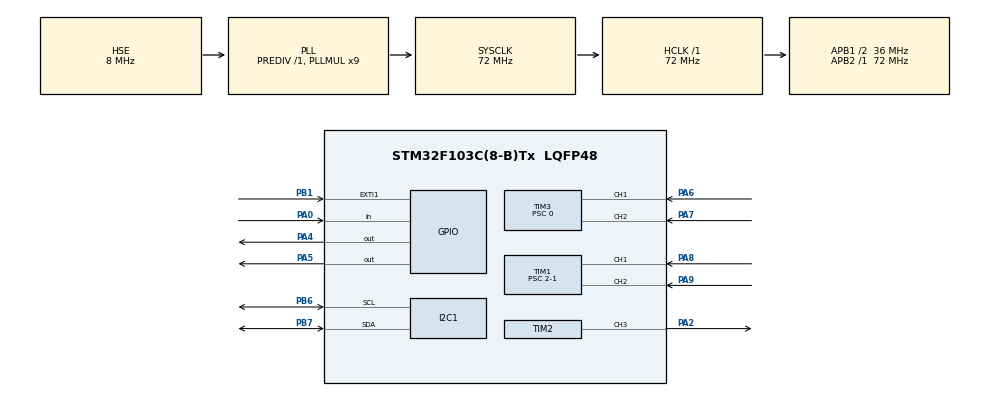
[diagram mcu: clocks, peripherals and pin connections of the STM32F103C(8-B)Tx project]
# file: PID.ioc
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Mcu.Family=STM32F1
Mcu.Name=STM32F103C(8-B)Tx
Mcu.Package=LQFP48
NVIC.PriorityGroup=NVIC_PRIORITYGROUP_4
NVIC.TIM4_IRQn=true\:1\:0\:true\:false\:true\:true\:true\:true
PA0-WKUP.GPIO_PuPd=GPIO_PULLUP
PA0-WKUP.Signal=GPIO_Input
PA13.Mode=Serial_Wire
PA13.Signal=SYS_JTMS-SWDIO
PA14.Mode=Serial_Wire
PA14.Signal=SYS_JTCK-SWCLK
PA2.Signal=S_TIM2_CH3
PA4.Signal=GPIO_Output
PA5.Signal=GPIO_Output
PA6.Signal=S_TIM3_CH1
PA7.Signal=S_TIM3_CH2
PA8.Signal=S_TIM1_CH1
PA9.Signal=S_TIM1_CH2
PB1.Signal=GPXTI1
PB6.Mode=I2C
PB6.Signal=I2C1_SCL
PB7.Mode=I2C
PB7.Signal=I2C1_SDA
PD0-OSC_IN.Mode=HSE-External-Oscillator
PD0-OSC_IN.Signal=RCC_OSC_IN
PD1-OSC_OUT.Mode=HSE-External-Oscillator
PD1-OSC_OUT.Signal=RCC_OSC_OUT
ProjectManager.HeapSize=0x200
ProjectManager.StackSize=0x400
ProjectManager.TargetToolchain=STM32CubeIDE
RCC.AHBFreq_Value=72000000
RCC.APB1CLKDivider=RCC_HCLK_DIV2
RCC.APB1Freq_Value=36000000
RCC.APB1TimFreq_Value=72000000
RCC.APB2Freq_Value=72000000
RCC.APB2TimFreq_Value=72000000
RCC.HCLKFreq_Value=72000000
RCC.PLLMUL=RCC_PLL_MUL9
RCC.PLLSourceVirtual=RCC_PLLSOURCE_HSE
RCC.SYSCLKFreq_VALUE=72000000
RCC.SYSCLKSource=RCC_SYSCLKSOURCE_PLLCLK
RCC.USBFreq_Value=72000000
SH.S_TIM1_CH1.0=TIM1_CH1,Encoder_Interface
SH.S_TIM1_CH2.0=TIM1_CH2,Encoder_Interface
SH.S_TIM2_CH3.0=TIM2_CH3,PWM Generation3 CH3
SH.S_TIM3_CH1.0=TIM3_CH1,Encoder_Interface
SH.S_TIM3_CH2.0=TIM3_CH2,Encoder_Interface
TIM1.Prescaler=2-1
TIM2.Channel-PWM\ Generation3\ CH3=TIM_CHANNEL_3
TIM2.OCFastMode_PWM-PWM\ Generation3\ CH3=TIM_OCFAST_ENABLE
TIM2.Period=100-1
TIM2.Prescaler=72-1
TIM2.Pulse-PWM\ Generation3\ CH3=50
TIM3.Period=65535
TIM3.Prescaler=0
TIM4.AutoReloadPreload=TIM_AUTORELOAD_PRELOAD_ENABLE
TIM4.Period=1000-1
TIM4.Prescaler=72-1
VP_TIM2_VS_ClockSourceINT.Mode=Internal
VP_TIM4_VS_ClockSourceINT.Mode=Internal
board=custom

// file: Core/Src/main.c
/* USER CODE BEGIN Header */
/**
  ******************************************************************************
  * @file           : main.c
  * @brief          : Main program body
  ******************************************************************************
  * @attention
  *
  * Copyright (c) 2025 STMicroelectronics.
  * All rights reserved.
  *
  * This software is licensed under terms that can be found in the LICENSE file
  * in the root directory of this software component.
  * If no LICENSE file comes with this software, it is provided AS-IS.
  *
  ******************************************************************************
  */
/* USER CODE END Header */
#include "main.h"
#include "i2c.h"
#include "tim.h"
#include "gpio.h"

/* USER CODE BEGIN Includes */
#include<oled.h>
#include<stdio.h>
#include<string.h>
#include<math.h>
/* USER CODE END Includes */

/* USER CODE BEGIN PD */
#define EPSILON 0.0001f
#define MAX_rpm 270.0f
#define MAX_counter 100.0f

/*电机参数*/
#define gear_ratio 20.0f
#define encoder_PPR 52.0f
#define encoder_quadrature 4.0f
#define sample_time 0.1f

#define GEAR_1_RPM 1.0f
#define GEAR_2_RPM 2.0f
#define GEAR_3_RPM 3.0f

/* USER CODE END PD */

/* USER CODE BEGIN PV */

/*PID相关全局变量初始化*/
float Target,Actual,Out;
float Kp,Ki,Kd;
float Error0,Error1,Errorint;

int speed = 0;
int flag = 0;

uint32_t last_button_time = 0;
uint8_t current_gear = 0; // 0:旋钮模式, 1:1rpm, 2:2rpm, 3:3rpm
uint8_t last_button_state = 1; // 假设按键默认高电平
/* USER CODE END PV */

void SystemClock_Config(void);

/* USER CODE BEGIN 0 */

/*速度设置函数*/
void SetSpeed(int speed)
{
	if(speed > 0){
		HAL_GPIO_WritePin(GPIOA, GPIO_PIN_4, GPIO_PIN_SET);
		HAL_GPIO_WritePin(GPIOA, GPIO_PIN_5, GPIO_PIN_RESET);
	}
	else if(speed < 0){
		HAL_GPIO_WritePin(GPIOA, GPIO_PIN_4, GPIO_PIN_RESET);
		HAL_GPIO_WritePin(GPIOA, GPIO_PIN_5, GPIO_PIN_SET);
		speed = -speed;
	}
	else{
		HAL_GPIO_WritePin(GPIOA, GPIO_PIN_4, GPIO_PIN_RESET);
		HAL_GPIO_WritePin(GPIOA, GPIO_PIN_5, GPIO_PIN_RESET);
	}
	if(speed > 100){
		speed = 100;
	}
	__HAL_TIM_SET_COMPARE(&htim2,TIM_CHANNEL_3,speed);
}

/*测速函数*/
int GetSpeed(TIM_HandleTypeDef *hencoder)
{
	int temp = (int16_t)__HAL_TIM_GET_COUNTER(hencoder);
	__HAL_TIM_SET_COUNTER(hencoder,0);
	return temp;
}

/*模式切换函数*/
GPIO_PinState CheckButton(void)
{
	GPIO_PinState current_state = HAL_GPIO_ReadPin(GPIOA, GPIO_PIN_0);

    /*按键检测*/
    if(last_button_state == GPIO_PIN_SET && current_state == GPIO_PIN_RESET) {
    	HAL_Delay(10);
        // 按键按下
        last_button_state = current_state;
        return GPIO_PIN_SET;
    }

    last_button_state = current_state;
    return GPIO_PIN_RESET;
}
/* USER CODE END 0 */

int main(void)
{

  /* MCU Configuration--------------------------------------------------------*/

  /* Reset of all peripherals, Initializes the Flash interface and the Systick. */
  HAL_Init();

  /* Configure the system clock */
  SystemClock_Config();

  /* Initialize all configured peripherals */
  MX_GPIO_Init();
  MX_I2C1_Init();
  MX_TIM2_Init();
  MX_TIM3_Init();
  MX_TIM1_Init();
  MX_TIM4_Init();
  /* USER CODE BEGIN 2 */

  /*OLED初始化*/
  OLED_Init();

  /*TIM1初始化*/
  HAL_TIM_Encoder_Start(&htim1, TIM_CHANNEL_ALL);

  /*TIM2初始化*/
  HAL_TIM_PWM_Start(&htim2, TIM_CHANNEL_3);
  __HAL_TIM_SET_COMPARE(&htim2,TIM_CHANNEL_3,0);

  /*TIM3初始化*/
  HAL_TIM_Encoder_Start(&htim3, TIM_CHANNEL_ALL);

  /*TIM4初始化*/
  HAL_TIM_Base_Start_IT(&htim4);

  /*局部变量初始化*/
  int16_t encoder = 50;
  int motor_speed = 0;
  int last_tick = 0;
  char MSG_Target[20] = "";
  char MSG_Out[20] = "";
  char MSG_Actual[20] = "";
  char MSG_Kp[20] = "";
  char MSG_Ki[20] = "";
  char MSG_Kd[20] = "";

//  char message[20] = "";

  /*初始速度设为0*/
  __HAL_TIM_SET_COUNTER(&htim1,encoder);

  /*设置PID值*/
  Kp = 1;
  Ki = 0.5;
  Kd = 0;

  /* USER CODE END 2 */

  /* Infinite loop */
  /* USER CODE BEGIN WHILE */
  while (1)
  {
	  OLED_NewFrame();

	  if(CheckButton() == GPIO_PIN_SET) {
		  // 切换挡位
		  current_gear = (current_gear + 1) % 4; // 0,1,2,3循环
	      // 根据挡位设置目标值
	      switch(current_gear) {
	          case 0: // 旋钮模式
	              // 保持旋钮控制
	              break;
	          case 1: // 1rpm
	              Target = GEAR_1_RPM * (MAX_counter / MAX_rpm) * 60; // 转换为PWM值
	              break;
	          case 2: // 2rpm
	              Target = GEAR_2_RPM * (MAX_counter / MAX_rpm) * 60;
	              break;
	          case 3: // 3rpm
	              Target = GEAR_3_RPM * (MAX_counter / MAX_rpm) * 60;
	              break;
	      }

	      //延时防止连续触发
	      HAL_Delay(200);
	 }

	  if(current_gear == 0) {	//模式0时
		  /*读取旋转编码器的值*/
		  encoder = __HAL_TIM_GET_COUNTER(&htim1);

		  /*计数器阈值*/
		  if(encoder < 0){
			  encoder = 0;
		  }
		  else if(encoder > 100){
			  encoder = 100;
		  }

		  /*设置旋转编码器*/
		  __HAL_TIM_SET_COUNTER(&htim1,encoder);

		  /*将0~50映射到-100~0，将50~100映射到0~100*/
		  Target = (encoder - 50) * 2;

	  }

	  /*每隔10ms测一次速*/
	  if(HAL_GetTick() - last_tick >= 100) {
	    last_tick = HAL_GetTick();

	    /*调用测速函数*/
	    motor_speed = GetSpeed(&htim3);

	    /*计算实际速度(rpm)*/
//	    Actual = (((motor_speed / sample_time)) / (encoder_PPR * gear_ratio * encoder_quadrature)) * 60;	//正常公式
	    Actual = motor_speed;	//神秘公式
	    /*PID公式*/
	    Error1 = Error0;
	    Error0 = Target - Actual / (MAX_rpm / MAX_counter);		//rpm转换为PWM
	    if(fabs(Ki) > EPSILON){		//Ki过小时忽略，防止积分饱和
	    	Errorint += Error0;
	    }
	    else{
	    	Errorint = 0;
	    }
	    Out = Kp * Error0 + Ki * Errorint + Kd * (Error0 - Error1);	//输出

//	    sprintf(message,"encoder = %d",encoder);
//	    OLED_PrintString(0, 20, message, &font16x16, OLED_COLOR_NORMAL);

	    /*设置速度*/
	    SetSpeed(Out);
	  }

	  /*OLED显示*/
	  sprintf(MSG_Target,"Tar=%+4.2f",Target * (MAX_rpm / MAX_counter) / 60);
//	  sprintf(MSG_Target,"Tar_PWM=%+4.2f",Target);
	  OLED_PrintString(0, 0, MSG_Target, &font16x16, OLED_COLOR_NORMAL);

//	  sprintf(MSG_Out,"Out=%+4.2f",Out * (MAX_rpm / MAX_counter) / 60);
	  sprintf(MSG_Out,"Out_PWM=%+4.2f",Out);
	  OLED_PrintString(0, 20, MSG_Out, &font16x16, OLED_COLOR_NORMAL);

//	  sprintf(MSG_Actual,"Act=%+4.2f",Actual / 60);
	  sprintf(MSG_Actual,"rps=%+4.2f",Actual / 60);
	  OLED_PrintString(0, 40, MSG_Actual, &font16x16, OLED_COLOR_NORMAL);

//	  sprintf(MSG_Kp,"Kp=%2.1f",Kp);
//	  OLED_PrintString(80, 0, MSG_Kp, &font16x16, OLED_COLOR_NORMAL);
//	  sprintf(MSG_Ki,"Ki=%2.1f",Ki);
//	  OLED_PrintString(80, 20, MSG_Ki, &font16x16, OLED_COLOR_NORMAL);
//	  sprintf(MSG_Kd,"Kd=%2.1f",Kd);
//	  OLED_PrintString(80, 40, MSG_Kd, &font16x16, OLED_COLOR_NORMAL);

	  OLED_ShowFrame();

    /* USER CODE END WHILE */

  }
}

void SystemClock_Config(void)
{
  RCC_OscInitTypeDef RCC_OscInitStruct = {0};
  RCC_ClkInitTypeDef RCC_ClkInitStruct = {0};

  /** Initializes the RCC Oscillators according to the specified parameters
  * in the RCC_OscInitTypeDef structure.
  */
  RCC_OscInitStruct.OscillatorType = RCC_OSCILLATORTYPE_HSE;
  RCC_OscInitStruct.HSEState = RCC_HSE_ON;
  RCC_OscInitStruct.HSEPredivValue = RCC_HSE_PREDIV_DIV1;
  RCC_OscInitStruct.HSIState = RCC_HSI_ON;
  RCC_OscInitStruct.PLL.PLLState = RCC_PLL_ON;
  RCC_OscInitStruct.PLL.PLLSource = RCC_PLLSOURCE_HSE;
  RCC_OscInitStruct.PLL.PLLMUL = RCC_PLL_MUL9;
  if (HAL_RCC_OscConfig(&RCC_OscInitStruct) != HAL_OK)
  {
    Error_Handler();
  }

  /** Initializes the CPU, AHB and APB buses clocks
  */
  RCC_ClkInitStruct.ClockType = RCC_CLOCKTYPE_HCLK|RCC_CLOCKTYPE_SYSCLK
                              |RCC_CLOCKTYPE_PCLK1|RCC_CLOCKTYPE_PCLK2;
  RCC_ClkInitStruct.SYSCLKSource = RCC_SYSCLKSOURCE_PLLCLK;
  RCC_ClkInitStruct.AHBCLKDivider = RCC_SYSCLK_DIV1;
  RCC_ClkInitStruct.APB1CLKDivider = RCC_HCLK_DIV2;
  RCC_ClkInitStruct.APB2CLKDivider = RCC_HCLK_DIV1;

  if (HAL_RCC_ClockConfig(&RCC_ClkInitStruct, FLASH_LATENCY_2) != HAL_OK)
  {
    Error_Handler();
  }
}

void Error_Handler(void)
{
  __disable_irq();
  while (1)
  {
  }
}
